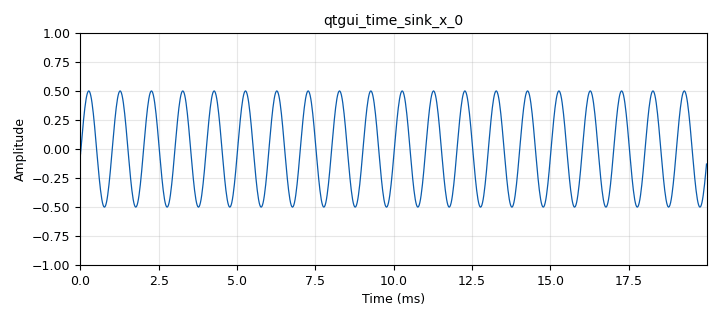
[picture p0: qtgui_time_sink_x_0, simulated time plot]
options:
  parameters:
    generate_options: qt_gui
    id: fg_ch12_001
    output_language: python
    title: FG-CH12-001
  states: {}

blocks:
- name: freq
  id: variable_qtgui_range
  parameters:
    gui_hint: 0, 0, 1, 1
    label: '"Frequency (Hz)"'
    start: '100'
    step: '100'
    stop: '4000'
    value: '1000'
  states: {}
- name: level
  id: variable_qtgui_chooser
  parameters:
    gui_hint: 1, 0, 1, 1
    label: '"Amplitude"'
    label0: '0.2'
    label1: '0.5'
    label2: '0.8'
    labels: '[''0.2'', ''0.5'', ''0.8'']'
    num_opts: '3'
    option0: '0.2'
    option1: '0.5'
    option2: '0.8'
    options: '[0.2, 0.5, 0.8]'
    orient: Qt.QHBoxLayout
    type: real
    value: '0.5'
    widget: radio_buttons
  states: {}
- name: nb_points
  id: variable
  parameters:
    value: int(samp_rate * 0.02)
  states: {}
- name: noise
  id: variable_qtgui_check_box
  parameters:
    'false': '0.0'
    gui_hint: 3, 0, 1, 1
    label: '"Noise"'
    'true': '0.05'
    type: real
    value: '0.0'
  states: {}
- name: offset
  id: variable_qtgui_entry
  parameters:
    gui_hint: 2, 0, 1, 1
    label: '"Offset"'
    type: real
    value: '0'
  states: {}
- name: samp_rate
  id: variable
  parameters:
    value: '48000'
  states: {}
- name: analog_noise_source_x_0
  id: analog_noise_source_x
  parameters:
    amp: noise
    noise_type: analog.GR_GAUSSIAN
    seed: '0'
    type: float
  states: {}
- name: analog_sig_source_x_0
  id: analog_sig_source_x
  parameters:
    amp: level
    freq: freq
    offset: offset
    phase: '0'
    samp_rate: samp_rate
    type: float
    waveform: analog.GR_COS_WAVE
  states: {}
- name: blocks_add_xx_0
  id: blocks_add_xx
  parameters:
    type: float
  states: {}
- name: blocks_throttle2_0
  id: blocks_throttle2
  parameters:
    samples_per_second: samp_rate
    type: float
  states: {}
- name: qtgui_time_sink_x_0
  id: qtgui_time_sink_x
  parameters:
    entags: 'False'
    grid: 'True'
    gui_hint: 4, 0, 4, 1
    legend: 'False'
    size: nb_points
    srate: samp_rate
    tr_mode: qtgui.TRIG_MODE_AUTO
    type: float
  states: {}

connections:
- [analog_noise_source_x_0, '0', blocks_add_xx_0, '1']
- [analog_sig_source_x_0, '0', blocks_add_xx_0, '0']
- [blocks_add_xx_0, '0', blocks_throttle2_0, '0']
- [blocks_throttle2_0, '0', qtgui_time_sink_x_0, '0']

metadata:
  file_format: 1
  grc_version: 3.10.12.0
